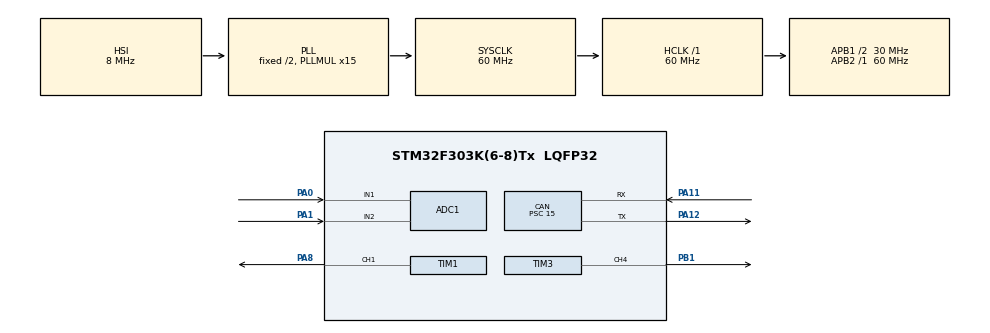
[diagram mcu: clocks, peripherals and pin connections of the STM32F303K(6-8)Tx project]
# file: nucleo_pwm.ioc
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ADC1.Channel-3\#ChannelRegularConversion=ADC_CHANNEL_1
ADC1.Channel-4\#ChannelRegularConversion=ADC_CHANNEL_2
ADC1.ContinuousConvMode=ENABLE
ADC1.DMAContinuousRequests=ENABLE
ADC1.EOCSelection=ADC_EOC_SINGLE_CONV
ADC1.NbrOfConversion=2
ADC1.NbrOfConversionFlag=1
ADC1.Offset-3\#ChannelRegularConversion=0
ADC1.Offset-4\#ChannelRegularConversion=0
ADC1.OffsetNumber-3\#ChannelRegularConversion=ADC_OFFSET_NONE
ADC1.OffsetNumber-4\#ChannelRegularConversion=ADC_OFFSET_NONE
ADC1.Rank-3\#ChannelRegularConversion=1
ADC1.Rank-4\#ChannelRegularConversion=2
ADC1.SamplingTime-3\#ChannelRegularConversion=ADC_SAMPLETIME_1CYCLE_5
ADC1.SamplingTime-4\#ChannelRegularConversion=ADC_SAMPLETIME_1CYCLE_5
ADC1.SamplingTimeOPAMP-4\#ChannelRegularConversion=ADC_SAMPLETIME_61CYCLES_5
ADC1.master=1
CAN.BS1=CAN_BS1_13TQ
CAN.BS2=CAN_BS2_2TQ
CAN.CalculateTimeQuantum=500.00000000000006
CAN.NART=ENABLE
CAN.Prescaler=15
Dma.ADC1.0.Direction=DMA_PERIPH_TO_MEMORY
Dma.ADC1.0.Instance=DMA1_Channel1
Dma.ADC1.0.MemDataAlignment=DMA_MDATAALIGN_WORD
Dma.ADC1.0.MemInc=DMA_MINC_ENABLE
Dma.ADC1.0.Mode=DMA_NORMAL
Dma.ADC1.0.PeriphDataAlignment=DMA_PDATAALIGN_WORD
Dma.ADC1.0.PeriphInc=DMA_PINC_DISABLE
Dma.ADC1.0.Priority=DMA_PRIORITY_LOW
Dma.Request0=ADC1
Mcu.Family=STM32F3
Mcu.Name=STM32F303K(6-8)Tx
Mcu.Package=LQFP32
NVIC.DMA1_Channel1_IRQn=true\:0\:0\:false\:false\:true\:false\:true
NVIC.PriorityGroup=NVIC_PRIORITYGROUP_4
PA0.Mode=IN1-Single-Ended
PA0.Signal=ADC1_IN1
PA1.Mode=IN2-Single-Ended
PA1.Signal=ADC1_IN2
PA11.Mode=Master
PA11.Signal=CAN_RX
PA12.Mode=Master
PA12.Signal=CAN_TX
PA13.Mode=Serial_Wire
PA13.Signal=SYS_JTMS-SWDIO
PA14.Mode=Serial_Wire
PA14.Signal=SYS_JTCK-SWCLK
PA8.Signal=S_TIM1_CH1
PB1.Signal=S_TIM3_CH4
ProjectManager.HeapSize=0x200
ProjectManager.StackSize=0x400
ProjectManager.TargetToolchain=STM32CubeIDE
RCC.AHBFreq_Value=60000000
RCC.APB1CLKDivider=RCC_HCLK_DIV2
RCC.APB1Freq_Value=30000000
RCC.APB1TimFreq_Value=60000000
RCC.APB2Freq_Value=60000000
RCC.APB2TimFreq_Value=60000000
RCC.CortexFreq_Value=60000000
RCC.HCLKFreq_Value=60000000
RCC.HSE_VALUE=8000000
RCC.HSI_VALUE=8000000
RCC.PLLMUL=RCC_PLL_MUL15
RCC.SYSCLKFreq_VALUE=60000000
RCC.SYSCLKSourceVirtual=RCC_SYSCLKSOURCE_PLLCLK
SH.S_TIM1_CH1.0=TIM1_CH1,PWM Generation1 CH1
SH.S_TIM3_CH4.0=TIM3_CH4,PWM Generation4 CH4
TIM1.Channel-PWM\ Generation1\ CH1=TIM_CHANNEL_1
TIM1.Period=1000-1
TIM1.Prescaler=6-1
TIM1.Pulse-PWM\ Generation1\ CH1=0
TIM3.Channel-PWM\ Generation4\ CH4=TIM_CHANNEL_4
TIM3.Period=1000-1
TIM3.Prescaler=6-1
TIM3.Pulse-PWM\ Generation4\ CH4=500
board=custom

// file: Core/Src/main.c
/* USER CODE BEGIN Header */
/**
  ******************************************************************************
  * @file           : main.c
  * @brief          : Main program body
  ******************************************************************************
  * @attention
  *
  * <h2><center>&copy; Copyright (c) 2020 STMicroelectronics.
  * All rights reserved.</center></h2>
  *
  * This software component is licensed by ST under BSD 3-Clause license,
  * the "License"; You may not use this file except in compliance with the
  * License. You may obtain a copy of the License at:
  *                        opensource.org/licenses/BSD-3-Clause
  *
  ******************************************************************************
  */
/* USER CODE END Header */
#include "main.h"

ADC_HandleTypeDef hadc1;
DMA_HandleTypeDef hdma_adc1;

CAN_HandleTypeDef hcan;

TIM_HandleTypeDef htim1;
TIM_HandleTypeDef htim3;

/* USER CODE BEGIN PV */

#define lowByte(w) ((uint8_t) ((w) & 0xff))
#define highByte(w) ((uint8_t) ((w) >> 8))
float i = 0;
/* USER CODE END PV */

void SystemClock_Config(void);
static void MX_GPIO_Init(void);
static void MX_DMA_Init(void);
static void MX_TIM3_Init(void);
static void MX_TIM1_Init(void);
static void MX_ADC1_Init(void);
static void MX_CAN_Init(void);
/* USER CODE BEGIN PFP */
uint16_t AD_RES;
uint32_t adc_values[2];

/* USER CODE END PFP */

/* USER CODE BEGIN 0 */
void CAN_Tx(uint8_t msg[])
{

	CAN_TxHeaderTypeDef TxHeader;
	//uint8_t message[5] = {'H','E','L','L','O'};

	uint32_t TxMailbox;

	TxHeader.StdId = 0x65D;
	TxHeader.IDE = CAN_ID_STD;
	TxHeader.RTR = CAN_RTR_DATA;
	TxHeader.DLC = 8;

	if(HAL_CAN_AddTxMessage(&hcan, &TxHeader, msg, &TxMailbox) != HAL_OK)
	{
		Error_Handler();
	}

	while( HAL_CAN_IsTxMessagePending(&hcan, TxMailbox));

}
/* USER CODE END 0 */

int main(void)
{

  /* MCU Configuration--------------------------------------------------------*/

  /* Reset of all peripherals, Initializes the Flash interface and the Systick. */
  HAL_Init();

  /* Configure the system clock */
  SystemClock_Config();

  /* Initialize all configured peripherals */
  MX_GPIO_Init();
  MX_DMA_Init();
  MX_TIM3_Init();
  MX_TIM1_Init();
  MX_ADC1_Init();
  MX_CAN_Init();
  /* USER CODE BEGIN 2 */
  HAL_TIM_PWM_Start(&htim1, TIM_CHANNEL_1);
  HAL_TIM_PWM_Start(&htim3, TIM_CHANNEL_4);

  HAL_ADCEx_Calibration_Start(&hadc1, ADC_SINGLE_ENDED);
  HAL_Delay(100);

  if( HAL_CAN_Start(&hcan) != HAL_OK )
  {
	Error_Handler();
  }

  /* USER CODE END 2 */

  /* Infinite loop */
  /* USER CODE BEGIN WHILE */
  while (1)
  {
//	HAL_ADC_Start(&hadc1);
//	HAL_ADC_PollForConversion(&hadc1, 1);
//	AD_RES = HAL_ADC_GetValue(&hadc1);
	HAL_ADC_Start_DMA(&hadc1, adc_values, 2);
	HAL_ADC_Stop_DMA(&hadc1);
	unsigned char adc1[4];
	adc1[0] = (adc_values[0] >> 24) & 0xFF;
	adc1[1] = (adc_values[0] >> 16) & 0xFF;
	adc1[2] = (adc_values[0] >> 8) & 0xFF;
	adc1[3] = adc_values[0] & 0xFF;

	unsigned char adc2[4];
	adc2[0] = (adc_values[1] >> 24) & 0xFF;
	adc2[1] = (adc_values[1] >> 16) & 0xFF;
	adc2[2] = (adc_values[1] >> 8) & 0xFF;
	adc2[3] = adc_values[1] & 0xFF;

//	char low_byte_adc2 = lowByte(adc_values[1]);
//	char high_byte_adc2 = highByte(adc_values[1]);

	uint8_t msg[8] = {i,0,0,0,0,0,0,0};
	CAN_Tx(msg);
	HAL_Delay(1000);
	i++;
//	HAL_Delay(100);
    /* USER CODE END WHILE */

  }
}

void SystemClock_Config(void)
{
  RCC_OscInitTypeDef RCC_OscInitStruct = {0};
  RCC_ClkInitTypeDef RCC_ClkInitStruct = {0};
  RCC_PeriphCLKInitTypeDef PeriphClkInit = {0};

  /** Initializes the RCC Oscillators according to the specified parameters
  * in the RCC_OscInitTypeDef structure.
  */
  RCC_OscInitStruct.OscillatorType = RCC_OSCILLATORTYPE_HSI;
  RCC_OscInitStruct.HSIState = RCC_HSI_ON;
  RCC_OscInitStruct.HSICalibrationValue = RCC_HSICALIBRATION_DEFAULT;
  RCC_OscInitStruct.PLL.PLLState = RCC_PLL_ON;
  RCC_OscInitStruct.PLL.PLLSource = RCC_PLLSOURCE_HSI;
  RCC_OscInitStruct.PLL.PLLMUL = RCC_PLL_MUL15;
  if (HAL_RCC_OscConfig(&RCC_OscInitStruct) != HAL_OK)
  {
    Error_Handler();
  }
  /** Initializes the CPU, AHB and APB buses clocks
  */
  RCC_ClkInitStruct.ClockType = RCC_CLOCKTYPE_HCLK|RCC_CLOCKTYPE_SYSCLK
                              |RCC_CLOCKTYPE_PCLK1|RCC_CLOCKTYPE_PCLK2;
  RCC_ClkInitStruct.SYSCLKSource = RCC_SYSCLKSOURCE_PLLCLK;
  RCC_ClkInitStruct.AHBCLKDivider = RCC_SYSCLK_DIV1;
  RCC_ClkInitStruct.APB1CLKDivider = RCC_HCLK_DIV2;
  RCC_ClkInitStruct.APB2CLKDivider = RCC_HCLK_DIV1;

  if (HAL_RCC_ClockConfig(&RCC_ClkInitStruct, FLASH_LATENCY_2) != HAL_OK)
  {
    Error_Handler();
  }
  PeriphClkInit.PeriphClockSelection = RCC_PERIPHCLK_TIM1|RCC_PERIPHCLK_ADC12;
  PeriphClkInit.Adc12ClockSelection = RCC_ADC12PLLCLK_DIV1;
  PeriphClkInit.Tim1ClockSelection = RCC_TIM1CLK_HCLK;
  if (HAL_RCCEx_PeriphCLKConfig(&PeriphClkInit) != HAL_OK)
  {
    Error_Handler();
  }
}

static void MX_ADC1_Init(void)
{

  ADC_MultiModeTypeDef multimode = {0};
  ADC_ChannelConfTypeDef sConfig = {0};

  /** Common config
  */
  hadc1.Instance = ADC1;
  hadc1.Init.ClockPrescaler = ADC_CLOCK_ASYNC_DIV1;
  hadc1.Init.Resolution = ADC_RESOLUTION_12B;
  hadc1.Init.ScanConvMode = ADC_SCAN_ENABLE;
  hadc1.Init.ContinuousConvMode = ENABLE;
  hadc1.Init.DiscontinuousConvMode = DISABLE;
  hadc1.Init.ExternalTrigConvEdge = ADC_EXTERNALTRIGCONVEDGE_NONE;
  hadc1.Init.ExternalTrigConv = ADC_SOFTWARE_START;
  hadc1.Init.DataAlign = ADC_DATAALIGN_RIGHT;
  hadc1.Init.NbrOfConversion = 2;
  hadc1.Init.DMAContinuousRequests = ENABLE;
  hadc1.Init.EOCSelection = ADC_EOC_SINGLE_CONV;
  hadc1.Init.LowPowerAutoWait = DISABLE;
  hadc1.Init.Overrun = ADC_OVR_DATA_OVERWRITTEN;
  if (HAL_ADC_Init(&hadc1) != HAL_OK)
  {
    Error_Handler();
  }
  /** Configure the ADC multi-mode
  */
  multimode.Mode = ADC_MODE_INDEPENDENT;
  if (HAL_ADCEx_MultiModeConfigChannel(&hadc1, &multimode) != HAL_OK)
  {
    Error_Handler();
  }
  /** Configure Regular Channel
  */
  sConfig.Channel = ADC_CHANNEL_1;
  sConfig.Rank = ADC_REGULAR_RANK_1;
  sConfig.SingleDiff = ADC_SINGLE_ENDED;
  sConfig.SamplingTime = ADC_SAMPLETIME_1CYCLE_5;
  sConfig.OffsetNumber = ADC_OFFSET_NONE;
  sConfig.Offset = 0;
  if (HAL_ADC_ConfigChannel(&hadc1, &sConfig) != HAL_OK)
  {
    Error_Handler();
  }
  /** Configure Regular Channel
  */
  sConfig.Channel = ADC_CHANNEL_2;
  sConfig.Rank = ADC_REGULAR_RANK_2;
  if (HAL_ADC_ConfigChannel(&hadc1, &sConfig) != HAL_OK)
  {
    Error_Handler();
  }

}

static void MX_CAN_Init(void)
{

  hcan.Instance = CAN;
  hcan.Init.Prescaler = 15;
  hcan.Init.Mode = CAN_MODE_NORMAL;
  hcan.Init.SyncJumpWidth = CAN_SJW_1TQ;
  hcan.Init.TimeSeg1 = CAN_BS1_13TQ;
  hcan.Init.TimeSeg2 = CAN_BS2_2TQ;
  hcan.Init.TimeTriggeredMode = DISABLE;
  hcan.Init.AutoBusOff = DISABLE;
  hcan.Init.AutoWakeUp = DISABLE;
  hcan.Init.AutoRetransmission = ENABLE;
  hcan.Init.ReceiveFifoLocked = DISABLE;
  hcan.Init.TransmitFifoPriority = DISABLE;
  if (HAL_CAN_Init(&hcan) != HAL_OK)
  {
    Error_Handler();
  }

}

static void MX_TIM1_Init(void)
{

  TIM_MasterConfigTypeDef sMasterConfig = {0};
  TIM_OC_InitTypeDef sConfigOC = {0};
  TIM_BreakDeadTimeConfigTypeDef sBreakDeadTimeConfig = {0};

  htim1.Instance = TIM1;
  htim1.Init.Prescaler = 6-1;
  htim1.Init.CounterMode = TIM_COUNTERMODE_UP;
  htim1.Init.Period = 1000-1;
  htim1.Init.ClockDivision = TIM_CLOCKDIVISION_DIV1;
  htim1.Init.RepetitionCounter = 0;
  htim1.Init.AutoReloadPreload = TIM_AUTORELOAD_PRELOAD_DISABLE;
  if (HAL_TIM_PWM_Init(&htim1) != HAL_OK)
  {
    Error_Handler();
  }
  sMasterConfig.MasterOutputTrigger = TIM_TRGO_RESET;
  sMasterConfig.MasterOutputTrigger2 = TIM_TRGO2_RESET;
  sMasterConfig.MasterSlaveMode = TIM_MASTERSLAVEMODE_DISABLE;
  if (HAL_TIMEx_MasterConfigSynchronization(&htim1, &sMasterConfig) != HAL_OK)
  {
    Error_Handler();
  }
  sConfigOC.OCMode = TIM_OCMODE_PWM1;
  sConfigOC.Pulse = 0;
  sConfigOC.OCPolarity = TIM_OCPOLARITY_HIGH;
  sConfigOC.OCNPolarity = TIM_OCNPOLARITY_HIGH;
  sConfigOC.OCFastMode = TIM_OCFAST_DISABLE;
  sConfigOC.OCIdleState = TIM_OCIDLESTATE_RESET;
  sConfigOC.OCNIdleState = TIM_OCNIDLESTATE_RESET;
  if (HAL_TIM_PWM_ConfigChannel(&htim1, &sConfigOC, TIM_CHANNEL_1) != HAL_OK)
  {
    Error_Handler();
  }
  sBreakDeadTimeConfig.OffStateRunMode = TIM_OSSR_DISABLE;
  sBreakDeadTimeConfig.OffStateIDLEMode = TIM_OSSI_DISABLE;
  sBreakDeadTimeConfig.LockLevel = TIM_LOCKLEVEL_OFF;
  sBreakDeadTimeConfig.DeadTime = 0;
  sBreakDeadTimeConfig.BreakState = TIM_BREAK_DISABLE;
  sBreakDeadTimeConfig.BreakPolarity = TIM_BREAKPOLARITY_HIGH;
  sBreakDeadTimeConfig.BreakFilter = 0;
  sBreakDeadTimeConfig.Break2State = TIM_BREAK2_DISABLE;
  sBreakDeadTimeConfig.Break2Polarity = TIM_BREAK2POLARITY_HIGH;
  sBreakDeadTimeConfig.Break2Filter = 0;
  sBreakDeadTimeConfig.AutomaticOutput = TIM_AUTOMATICOUTPUT_DISABLE;
  if (HAL_TIMEx_ConfigBreakDeadTime(&htim1, &sBreakDeadTimeConfig) != HAL_OK)
  {
    Error_Handler();
  }
  HAL_TIM_MspPostInit(&htim1);

}

static void MX_TIM3_Init(void)
{

  TIM_MasterConfigTypeDef sMasterConfig = {0};
  TIM_OC_InitTypeDef sConfigOC = {0};

  htim3.Instance = TIM3;
  htim3.Init.Prescaler = 6-1;
  htim3.Init.CounterMode = TIM_COUNTERMODE_UP;
  htim3.Init.Period = 1000-1;
  htim3.Init.ClockDivision = TIM_CLOCKDIVISION_DIV1;
  htim3.Init.AutoReloadPreload = TIM_AUTORELOAD_PRELOAD_DISABLE;
  if (HAL_TIM_PWM_Init(&htim3) != HAL_OK)
  {
    Error_Handler();
  }
  sMasterConfig.MasterOutputTrigger = TIM_TRGO_RESET;
  sMasterConfig.MasterSlaveMode = TIM_MASTERSLAVEMODE_DISABLE;
  if (HAL_TIMEx_MasterConfigSynchronization(&htim3, &sMasterConfig) != HAL_OK)
  {
    Error_Handler();
  }
  sConfigOC.OCMode = TIM_OCMODE_PWM1;
  sConfigOC.Pulse = 500;
  sConfigOC.OCPolarity = TIM_OCPOLARITY_HIGH;
  sConfigOC.OCFastMode = TIM_OCFAST_DISABLE;
  if (HAL_TIM_PWM_ConfigChannel(&htim3, &sConfigOC, TIM_CHANNEL_4) != HAL_OK)
  {
    Error_Handler();
  }
  HAL_TIM_MspPostInit(&htim3);

}

static void MX_DMA_Init(void)
{

  /* DMA controller clock enable */
  __HAL_RCC_DMA1_CLK_ENABLE();

  /* DMA interrupt init */
  /* DMA1_Channel1_IRQn interrupt configuration */
  HAL_NVIC_SetPriority(DMA1_Channel1_IRQn, 0, 0);
  HAL_NVIC_EnableIRQ(DMA1_Channel1_IRQn);

}

static void MX_GPIO_Init(void)
{

  /* GPIO Ports Clock Enable */
  __HAL_RCC_GPIOA_CLK_ENABLE();
  __HAL_RCC_GPIOB_CLK_ENABLE();

}

void Error_Handler(void)
{
}

/************************ (C) COPYRIGHT STMicroelectronics *****END OF FILE****/
